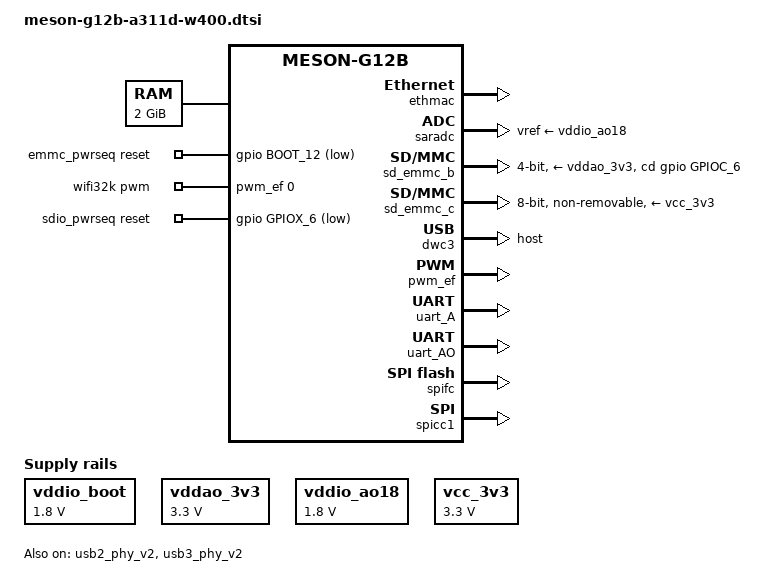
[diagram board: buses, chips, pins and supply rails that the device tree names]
// SPDX-License-Identifier: (GPL-2.0+ OR MIT)
/*
 * Copyright (c) 2016 Martin Blumenstingl <martin.blumenstingl@googlemail.com>.
 * Based on meson-gx-p23x-q20x.dtsi:
 * - Copyright (c) 2016 Endless Computers, Inc.
 *   Author: Carlo Caione <carlo@endlessm.com>
 * - Copyright (c) 2016 BayLibre, SAS.
 *   Author: Neil Armstrong <narmstrong@baylibre.com>
 */

/* Common DTSI for devices which are based on the P212 reference board. */

#include "meson-g12b-a311d.dtsi"

/ {
	aliases {
		serial0 = &uart_AO;
		serial1 = &uart_A;
		spi0 = &spifc;
		spi1 = &spicc0;
		spi2 = &spicc1;
		i2c0 = &i2c0;
		i2c1 = &i2c1;
		i2c2 = &i2c2;
		i2c3 = &i2c3;
		i2c4 = &i2c_AO;
	};

	chosen {
		stdout-path = "serial0:115200n8";
	};

	memory@0 {
		device_type = "memory";
		reg = <0x0 0x0 0x0 0x80000000>;
	};

	vddio_boot: regulator-vddio_boot {
		compatible = "regulator-fixed";
		regulator-name = "VDDIO_BOOT";
		regulator-min-microvolt = <1800000>;
		regulator-max-microvolt = <1800000>;
	};

	vddao_3v3: regulator-vddao_3v3 {
		compatible = "regulator-fixed";
		regulator-name = "VDDAO_3V3";
		regulator-min-microvolt = <3300000>;
		regulator-max-microvolt = <3300000>;
	};

	vddio_ao18: regulator-vddio_ao18 {
		compatible = "regulator-fixed";
		regulator-name = "VDDIO_AO18";
		regulator-min-microvolt = <1800000>;
		regulator-max-microvolt = <1800000>;
	};

	vcc_3v3: regulator-vcc_3v3 {
		compatible = "regulator-fixed";
		regulator-name = "VCC_3V3";
		regulator-min-microvolt = <3300000>;
		regulator-max-microvolt = <3300000>;
	};

	emmc_pwrseq: emmc-pwrseq {
		compatible = "mmc-pwrseq-emmc";
		reset-gpios = <&gpio BOOT_12 GPIO_ACTIVE_LOW>;
	};

	wifi32k: wifi32k {
		compatible = "pwm-clock";
		#clock-cells = <0>;
		clock-frequency = <32768>;
		pwms = <&pwm_ef 0 30518 0>; /* PWM_E at 32.768KHz */
	};

	sdio_pwrseq: sdio-pwrseq {
		compatible = "mmc-pwrseq-simple";
		reset-gpios = <&gpio GPIOX_6 GPIO_ACTIVE_LOW>;
		clocks = <&wifi32k>;
		clock-names = "ext_clock";
	};
};

&ethmac {
	status = "okay";
	internal_phy = <1>;
	mc_val = <0x4be04>;
	/*mc_val = <0x1621>;*/
};

&ir {
	status = "disabled";
	//pinctrl-0 = <&remote_input_ao_pins>;
	//pinctrl-names = "default";
};

&saradc {
	status = "okay";
	vref-supply = <&vddio_ao18>;
};

/* Wireless SDIO Module */
&sd_emmc_a {
	status = "disabled";
	//pinctrl-0 = <&sdio_pins>;
	//pinctrl-names = "default";
	#address-cells = <1>;
	#size-cells = <0>;

	bus-width = <4>;
	cap-sd-highspeed;
	max-frequency = <100000000>;

	non-removable;
	disable-wp;

	pinname = "sdio";
	card_type = <3>;
	mmc-pwrseq = <&sdio_pwrseq>;

	vmmc-supply = <&vddao_3v3>;
	vqmmc-supply = <&vddio_boot>;
};

/* SD card */
&sd_emmc_b {
	status = "okay";
	pinctrl-0 = <&sd_all_pins>;
	pinctrl-names = "default";

	bus-width = <4>;
	cap-sd-highspeed;
	max-frequency = <100000000>;
	disable-wp;

	pinname = "sd";
	card_type = <5>;
	init_co_phase = <2>;
	init_tx_phase = <0>;
	sd_hs_co_phase = <2>;
	sd_hs_tx_phase = <0>;
	sdr104_co_phase = <2>;
	sdr104_hs_tx_phase = <0>;

	cd-gpios = <&gpio GPIOC_6 GPIO_ACTIVE_HIGH>;
	/* cd-inverted; */

	vmmc-supply = <&vddao_3v3>;
	vqmmc-supply = <&vddio_boot>;
};

/* eMMC */
&sd_emmc_c {
	status = "okay";
	pinctrl-0 = <&emmc_conf_pull_up &emmc_conf_pull_done>;
	pinctrl-names = "default";

	bus-width = <8>;
	cap-sd-highspeed;
	cap-mmc-highspeed;
	max-frequency = <200000000>;
	non-removable;
	disable-wp;
//	mmc-ddr-1_8v;
	mmc-hs200-1_8v;

	pinname = "emmc";
	card_type = <1>;
	init_co_phase = <2>;
	init_tx_phase = <0>;
	hs_co_phase = <1>;
	hs_tx_phase = <0>;
	ddr_co_phase = <2>;
	ddr_tx_phase = <0>;
	hs2_co_phase = <2>;
	hs2_tx_phase = <0>;

	hw_reset = <&gpio BOOT_12 GPIO_ACTIVE_HIGH>;
	mmc-pwrseq = <&emmc_pwrseq>;
	vmmc-supply = <&vcc_3v3>;
	vqmmc-supply = <&vddio_boot>;
};

&dwc3 {
	status = "okay";
	dr_mode = "host";
};

&usb2_phy_v2 {
	status = "okay";
	portnum = <2>;
	dwc2_a_reg = <0xff400000>;
};

&usb3_phy_v2 {
	status = "okay";
	portnum = <0>;
	gpio-vbus-power = "GPIOH_6";
	gpios = <&gpio GPIOH_6 GPIO_ACTIVE_HIGH>;
};

&pwm_ef {
	status = "okay";
	//pinctrl-0 = <&pwm_e_pins>;
	pinctrl-names = "default";
};

/* This is connected to the Bluetooth module: */
&uart_A {
	status = "okay";
	pinctrl-0 = <&a_uart_pins>;
	pinctrl-names = "default";
	uart-has-rtscts;
};

&uart_AO {
	status = "okay";
	pinctrl-0 = <&ao_uart_pins>;
	pinctrl-names = "default";
};

&spifc {
	status = "okay";
	pinctrl-names = "default";
	pinctrl-0 = <&spifc_all_pins>;
	max-frequency = <80000000>;
	max-io = <4>;
	cs-gpios = <&gpio BOOT_14 GPIO_ACTIVE_HIGH>;
	clocks = <&clkc CLKID_CLK81>;
	clock-names = "core";
};

&spicc1 {
	status = "okay";
	pinctrl-names = "default";
	pinctrl-0 = <&spicc1_pins>;
	cs-gpios = <&gpio GPIOH_6 0>;
};
